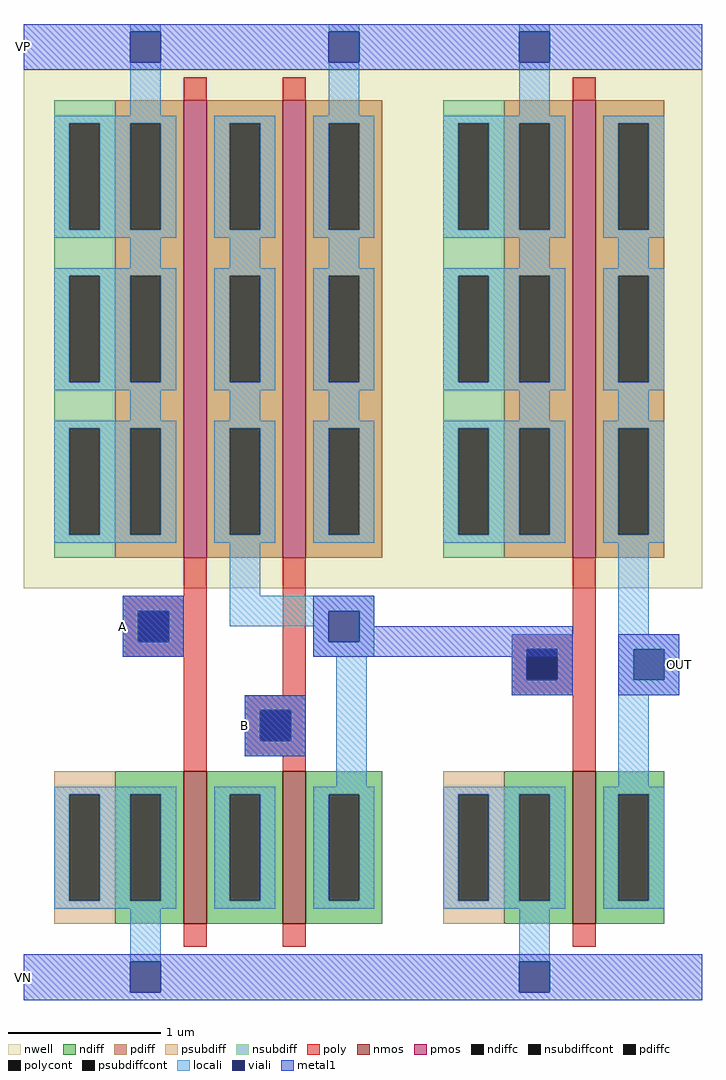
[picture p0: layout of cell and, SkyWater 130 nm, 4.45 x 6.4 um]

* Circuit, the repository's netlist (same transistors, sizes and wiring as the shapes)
* NGSPICE file created from and.ext - technology: sky130A

.subckt inverter A OUT VP VN
X0 OUT A VN VN sky130_fd_pr__nfet_01v8 ad=0.45 pd=2.9 as=0.45 ps=2.9 w=1 l=0.15
X1 OUT A VP VP sky130_fd_pr__pfet_01v8 ad=1.35 pd=6.9 as=1.35 ps=6.9 w=3 l=0.15
.ends

.subckt nand A B OUT VP VN
X0 OUT B a_30_0# VN sky130_fd_pr__nfet_01v8 ad=0.5 pd=3 as=0.25 ps=1.5 w=1 l=0.15
X1 a_30_0# A VN VN sky130_fd_pr__nfet_01v8 ad=0.25 pd=1.5 as=0.45 ps=2.9 w=1 l=0.15
X2 OUT A VP VP sky130_fd_pr__pfet_01v8 ad=0.75 pd=3.5 as=1.35 ps=6.9 w=3 l=0.15
X3 VP B OUT VP sky130_fd_pr__pfet_01v8 ad=1.5 pd=7 as=0.75 ps=3.5 w=3 l=0.15
.ends

.subckt and A B OUT VP VN
Xinverter_0 nand_0/OUT OUT VP VN inverter
Xnand_0 A B nand_0/OUT VP VN nand
.ends

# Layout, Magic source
magic
tech sky130A
<< metal1 >>
rect 0 610 15 640
rect 65 225 105 265
rect 230 225 360 245
rect 390 200 430 240
rect 145 160 185 200
rect 0 0 15 30
use inverter  inverter_0
transform 1 0 360 0 1 50
box -105 -50 85 590
use nand  nand_0
transform 1 0 105 0 1 50
box -105 -50 150 590
<< labels >>
flabel metal1 65 225 65 265 1 FreeSans 200 0 0 0 A
port 1 n
flabel metal1 145 160 145 200 1 FreeSans 200 0 0 0 B
port 2 n
flabel metal1 430 200 430 240 1 FreeSans 200 0 0 0 OUT
port 3 n
flabel metal1 0 610 0 640 3 FreeSans 200 0 0 0 VP
port 4 e
flabel metal1 0 0 0 30 3 FreeSans 200 0 0 0 VN
port 5 e
<< end >>

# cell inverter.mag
magic
tech sky130A
<< nwell >>
rect -105 220 85 560
<< nmos >>
rect 0 0 15 100
<< pmos >>
rect 0 240 15 540
<< ndiff >>
rect -45 85 0 100
rect -45 15 -35 85
rect -15 15 0 85
rect -45 0 0 15
rect 15 85 60 100
rect 15 15 30 85
rect 50 15 60 85
rect 15 0 60 15
<< pdiff >>
rect -45 525 0 540
rect -45 455 -35 525
rect -15 455 0 525
rect -45 425 0 455
rect -45 355 -35 425
rect -15 355 0 425
rect -45 325 0 355
rect -45 255 -35 325
rect -15 255 0 325
rect -45 240 0 255
rect 15 525 60 540
rect 15 455 30 525
rect 50 455 60 525
rect 15 425 60 455
rect 15 355 30 425
rect 50 355 60 425
rect 15 325 60 355
rect 15 255 30 325
rect 50 255 60 325
rect 15 240 60 255
<< ndiffc >>
rect -35 15 -15 85
rect 30 15 50 85
<< pdiffc >>
rect -35 455 -15 525
rect -35 355 -15 425
rect -35 255 -15 325
rect 30 455 50 525
rect 30 355 50 425
rect 30 255 50 325
<< psubdiff >>
rect -85 85 -45 100
rect -85 15 -75 85
rect -55 15 -45 85
rect -85 0 -45 15
<< nsubdiff >>
rect -85 525 -45 540
rect -85 455 -75 525
rect -55 455 -45 525
rect -85 425 -45 455
rect -85 355 -75 425
rect -55 355 -45 425
rect -85 325 -45 355
rect -85 255 -75 325
rect -55 255 -45 325
rect -85 240 -45 255
<< psubdiffcont >>
rect -75 15 -55 85
<< nsubdiffcont >>
rect -75 455 -55 525
rect -75 355 -55 425
rect -75 255 -55 325
<< poly >>
rect 0 540 15 555
rect 0 190 15 240
rect -40 180 15 190
rect -40 160 -30 180
rect -10 160 15 180
rect -40 150 15 160
rect 0 100 15 150
rect 0 -15 15 0
<< polycont >>
rect -30 160 -10 180
<< locali >>
rect -35 585 -15 590
rect -35 530 -15 565
rect -85 525 -5 530
rect -85 455 -75 525
rect -55 455 -35 525
rect -15 455 -5 525
rect -85 450 -5 455
rect 20 525 60 530
rect 20 455 30 525
rect 50 455 60 525
rect 20 450 60 455
rect -35 430 -15 450
rect 30 430 50 450
rect -85 425 -5 430
rect -85 355 -75 425
rect -55 355 -35 425
rect -15 355 -5 425
rect -85 350 -5 355
rect 20 425 60 430
rect 20 355 30 425
rect 50 355 60 425
rect 20 350 60 355
rect -35 330 -15 350
rect 30 330 50 350
rect -85 325 -5 330
rect -85 255 -75 325
rect -55 255 -35 325
rect -15 255 -5 325
rect -85 250 -5 255
rect 20 325 60 330
rect 20 255 30 325
rect 50 255 60 325
rect 20 250 60 255
rect 30 190 50 250
rect -40 180 0 190
rect -40 160 -30 180
rect -10 160 0 180
rect -40 150 0 160
rect 30 180 70 190
rect 30 160 40 180
rect 60 160 70 180
rect 30 150 70 160
rect 30 90 50 150
rect -85 85 -5 90
rect -85 15 -75 85
rect -55 15 -35 85
rect -15 15 -5 85
rect -85 10 -5 15
rect 20 85 60 90
rect 20 15 30 85
rect 50 15 60 85
rect 20 10 60 15
rect -35 -25 -15 10
<< viali >>
rect -35 565 -15 585
rect -30 160 -10 180
rect 40 160 60 180
rect -35 -45 -15 -25
<< metal1 >>
rect -105 585 85 590
rect -105 565 -35 585
rect -15 565 85 585
rect -105 560 85 565
rect -40 180 0 190
rect -40 160 -30 180
rect -10 160 0 180
rect -40 150 0 160
rect 30 180 70 190
rect 30 160 40 180
rect 60 160 70 180
rect 30 150 70 160
rect -105 -25 85 -20
rect -105 -45 -35 -25
rect -15 -45 85 -25
rect -105 -50 85 -45
<< labels >>
flabel metal1 -40 150 -40 190 1 FreeSans 200 0 0 0 A
port 1 n
flabel metal1 70 150 70 190 1 FreeSans 200 0 0 0 OUT
port 2 n
flabel metal1 -105 560 -105 590 3 FreeSans 200 0 0 0 VP
port 3 e
flabel metal1 -105 -50 -105 -20 3 FreeSans 200 0 0 0 VN
port 4 e
<< end >>

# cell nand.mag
magic
tech sky130A
<< nwell >>
rect -105 220 150 560
<< nmos >>
rect 0 0 15 100
rect 65 0 80 100
<< pmos >>
rect 0 240 15 540
rect 65 240 80 540
<< ndiff >>
rect -45 85 0 100
rect -45 15 -35 85
rect -15 15 0 85
rect -45 0 0 15
rect 15 85 65 100
rect 15 15 30 85
rect 50 15 65 85
rect 15 0 65 15
rect 80 85 130 100
rect 80 15 95 85
rect 115 15 130 85
rect 80 0 130 15
<< pdiff >>
rect -45 525 0 540
rect -45 455 -35 525
rect -15 455 0 525
rect -45 425 0 455
rect -45 355 -35 425
rect -15 355 0 425
rect -45 325 0 355
rect -45 255 -35 325
rect -15 255 0 325
rect -45 240 0 255
rect 15 525 65 540
rect 15 455 30 525
rect 50 455 65 525
rect 15 425 65 455
rect 15 355 30 425
rect 50 355 65 425
rect 15 325 65 355
rect 15 255 30 325
rect 50 255 65 325
rect 15 240 65 255
rect 80 525 130 540
rect 80 455 95 525
rect 115 455 130 525
rect 80 425 130 455
rect 80 355 95 425
rect 115 355 130 425
rect 80 325 130 355
rect 80 255 95 325
rect 115 255 130 325
rect 80 240 130 255
<< ndiffc >>
rect -35 15 -15 85
rect 30 15 50 85
rect 95 15 115 85
<< pdiffc >>
rect -35 455 -15 525
rect -35 355 -15 425
rect -35 255 -15 325
rect 30 455 50 525
rect 30 355 50 425
rect 30 255 50 325
rect 95 455 115 525
rect 95 355 115 425
rect 95 255 115 325
<< psubdiff >>
rect -85 85 -45 100
rect -85 15 -75 85
rect -55 15 -45 85
rect -85 0 -45 15
<< nsubdiff >>
rect -85 525 -45 540
rect -85 455 -75 525
rect -55 455 -45 525
rect -85 425 -45 455
rect -85 355 -75 425
rect -55 355 -45 425
rect -85 325 -45 355
rect -85 255 -75 325
rect -55 255 -45 325
rect -85 240 -45 255
<< psubdiffcont >>
rect -75 15 -55 85
<< nsubdiffcont >>
rect -75 455 -55 525
rect -75 355 -55 425
rect -75 255 -55 325
<< poly >>
rect 0 540 15 555
rect 65 540 80 555
rect 0 215 15 240
rect -40 205 15 215
rect -40 185 -30 205
rect -10 185 15 205
rect -40 175 15 185
rect 0 100 15 175
rect 65 150 80 240
rect 40 140 80 150
rect 40 120 50 140
rect 70 120 80 140
rect 40 110 80 120
rect 65 100 80 110
rect 0 -15 15 0
rect 65 -15 80 0
<< polycont >>
rect -30 185 -10 205
rect 50 120 70 140
<< locali >>
rect -35 585 -15 590
rect -35 530 -15 565
rect 95 585 115 590
rect 95 530 115 565
rect -85 525 -5 530
rect -85 455 -75 525
rect -55 455 -35 525
rect -15 455 -5 525
rect -85 450 -5 455
rect 20 525 60 530
rect 20 455 30 525
rect 50 455 60 525
rect 20 450 60 455
rect 85 525 125 530
rect 85 455 95 525
rect 115 455 125 525
rect 85 450 125 455
rect -35 430 -15 450
rect 30 430 50 450
rect 95 430 115 450
rect -85 425 -5 430
rect -85 355 -75 425
rect -55 355 -35 425
rect -15 355 -5 425
rect -85 350 -5 355
rect 20 425 60 430
rect 20 355 30 425
rect 50 355 60 425
rect 20 350 60 355
rect 85 425 125 430
rect 85 355 95 425
rect 115 355 125 425
rect 85 350 125 355
rect -35 330 -15 350
rect 30 330 50 350
rect 95 330 115 350
rect -85 325 -5 330
rect -85 255 -75 325
rect -55 255 -35 325
rect -15 255 -5 325
rect -85 250 -5 255
rect 20 325 60 330
rect 20 255 30 325
rect 50 255 60 325
rect 20 250 60 255
rect 85 325 125 330
rect 85 255 95 325
rect 115 255 125 325
rect 85 250 125 255
rect 30 215 50 250
rect -40 205 0 215
rect -40 185 -30 205
rect -10 185 0 205
rect 30 205 125 215
rect 30 195 95 205
rect -40 175 0 185
rect 85 185 95 195
rect 115 185 125 205
rect 85 175 125 185
rect 40 140 80 150
rect 40 120 50 140
rect 70 120 80 140
rect 40 110 80 120
rect 100 90 120 175
rect -85 85 -5 90
rect -85 15 -75 85
rect -55 15 -35 85
rect -15 15 -5 85
rect -85 10 -5 15
rect 20 85 60 90
rect 20 15 30 85
rect 50 15 60 85
rect 20 10 60 15
rect 85 85 125 90
rect 85 15 95 85
rect 115 15 125 85
rect 85 10 125 15
rect -35 -25 -15 10
<< viali >>
rect -35 565 -15 585
rect 95 565 115 585
rect -30 185 -10 205
rect 95 185 115 205
rect 50 120 70 140
rect -35 -45 -15 -25
<< metal1 >>
rect -105 585 150 590
rect -105 565 -35 585
rect -15 565 95 585
rect 115 565 150 585
rect -105 560 150 565
rect -40 205 0 215
rect -40 185 -30 205
rect -10 185 0 205
rect -40 175 0 185
rect 85 205 125 215
rect 85 185 95 205
rect 115 185 125 205
rect 85 175 125 185
rect 40 140 80 150
rect 40 120 50 140
rect 70 120 80 140
rect 40 110 80 120
rect -105 -25 150 -20
rect -105 -45 -35 -25
rect -15 -45 150 -25
rect -105 -50 150 -45
<< labels >>
flabel metal1 -40 175 -40 215 1 FreeSans 200 0 0 0 A
port 1 n
flabel metal1 40 110 40 150 1 FreeSans 200 0 0 0 B
port 2 n
flabel metal1 125 175 125 215 1 FreeSans 200 0 0 0 OUT
port 3 n
flabel metal1 -105 560 -105 590 3 FreeSans 200 0 0 0 VP
port 4 e
flabel metal1 -105 -50 -105 -20 3 FreeSans 200 0 0 0 VN
port 5 e
<< end >>
